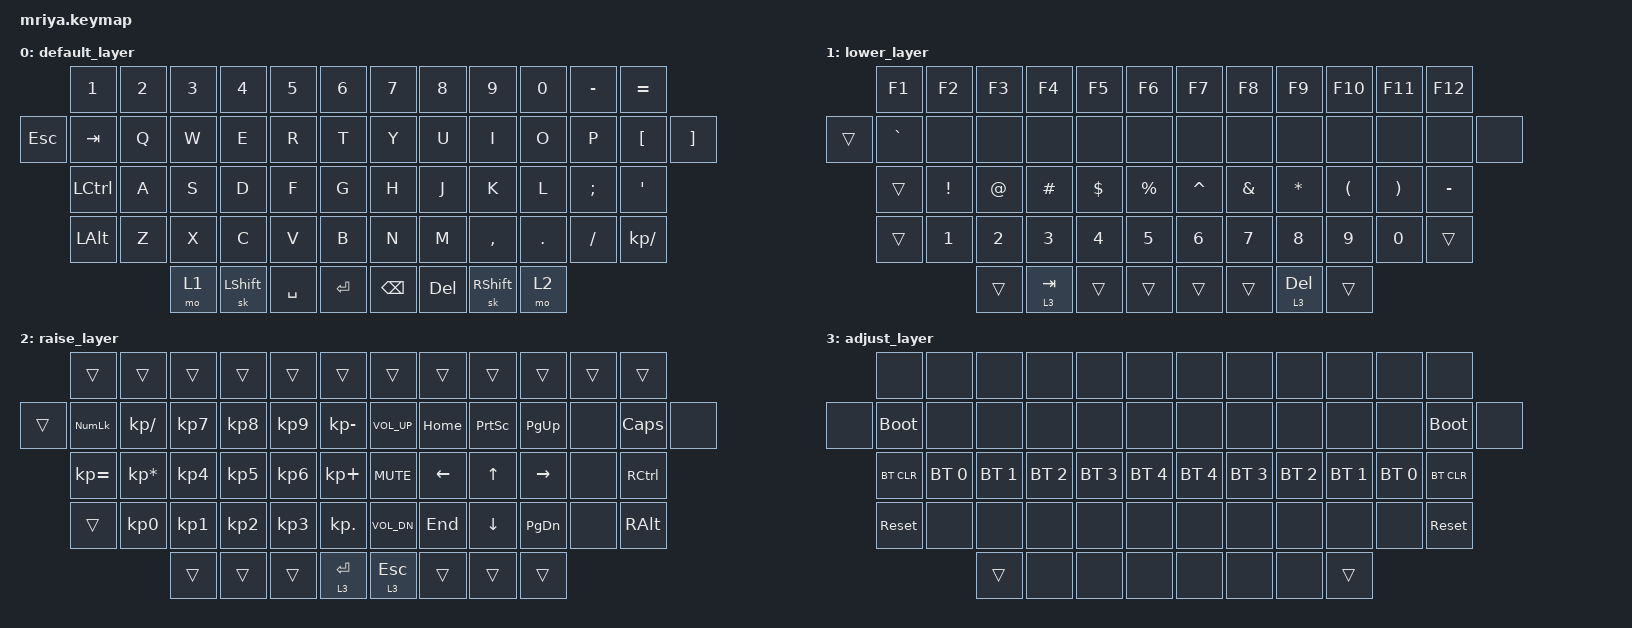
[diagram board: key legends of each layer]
/*
 * Copyright (c) 2023 Andrei Gaevskii
 *
 * SPDX-License-Identifier: MIT
 */

#include <behaviors.dtsi>
#include <dt-bindings/zmk/bt.h>
#include <dt-bindings/zmk/keys.h>

#define DEF 0
#define LWR 1
#define RSE 2
#define ADJ 3

&lt {
    quick_tap_ms = <200>;
};

&mt {
    quick_tap_ms = <200>;
};

/ {
    keymap {
        compatible = "zmk,keymap";

        default_layer {
            bindings = <
         &kp N1     &kp N2  &kp N3  &kp N4     &kp N5     &kp N6       &kp N7    &kp N8   &kp N9     &kp N0   &kp MINUS  &kp EQUAL
&kp ESC  &kp TAB    &kp Q   &kp W   &kp E      &kp R      &kp T        &kp Y     &kp U    &kp I      &kp O    &kp P      &kp LBKT       &kp RBKT
         &kp LCTRL  &kp A   &kp S   &kp D      &kp F      &kp G        &kp H     &kp J    &kp K      &kp L    &kp SEMI   &kp SQT
         &kp LALT   &kp Z   &kp X   &kp C      &kp V      &kp B        &kp N     &kp M    &kp COMMA  &kp DOT  &kp FSLH   &kp KP_DIVIDE
                            &mo 1   &sk LSHFT  &kp SPACE  &kp ENTER    &kp BSPC  &kp DEL  &sk RSHFT  &mo 2
            >;
        };

        lower_layer {
            bindings = <
        &kp F1     &kp F2    &kp F3  &kp F4     &kp F5    &kp F6       &kp F7     &kp F8    &kp F9     &kp F10   &kp F11   &kp F12
&trans  &kp GRAVE  &none     &none   &none      &none     &none        &none      &none     &none      &none     &none     &none      &none
        &trans     &kp EXCL  &kp AT  &kp HASH   &kp DLLR  &kp PRCNT    &kp CARET  &kp AMPS  &kp STAR   &kp LPAR  &kp RPAR  &kp MINUS
        &trans     &kp N1    &kp N2  &kp N3     &kp N4    &kp N5       &kp N6     &kp N7    &kp N8     &kp N9    &kp N0    &trans
                             &trans  &lt 3 TAB  &trans    &trans       &trans     &trans    &lt 3 DEL  &trans
            >;
        };

        raise_layer {
            bindings = <
        &trans        &trans           &trans     &trans     &trans     &trans          &trans        &trans    &trans     &trans     &trans  &trans
&trans  &kp KP_NUM    &kp KP_SLASH     &kp KP_N7  &kp KP_N8  &kp KP_N9  &kp KP_MINUS    &kp C_VOL_UP  &kp HOME  &kp PSCRN  &kp PG_UP  &none   &kp CAPS   &none
        &kp KP_EQUAL  &kp KP_MULTIPLY  &kp KP_N4  &kp KP_N5  &kp KP_N6  &kp KP_PLUS     &kp C_MUTE    &kp LEFT  &kp UP     &kp RIGHT  &none   &kp RCTRL
        &trans        &kp KP_N0        &kp KP_N1  &kp KP_N2  &kp KP_N3  &kp KP_DOT      &kp C_VOL_DN  &kp END   &kp DOWN   &kp PG_DN  &none   &kp RALT
                                       &trans     &trans     &trans     &lt 3 RET       &lt 3 ESC     &trans    &trans     &trans
            >;
        };

        adjust_layer {
            bindings = <
       &none        &none         &none         &none         &none         &none           &none         &none         &none         &none         &none         &none
&none  &bootloader  &none         &none         &none         &none         &none           &none         &none         &none         &none         &none         &bootloader  &none
       &bt BT_CLR   &bt BT_SEL 0  &bt BT_SEL 1  &bt BT_SEL 2  &bt BT_SEL 3  &bt BT_SEL 4    &bt BT_SEL 4  &bt BT_SEL 3  &bt BT_SEL 2  &bt BT_SEL 1  &bt BT_SEL 0  &bt BT_CLR
       &sys_reset   &none         &none         &none         &none         &none           &none         &none         &none         &none         &none         &sys_reset
                                  &trans        &none         &none         &none           &none         &none         &none         &trans
            >;
        };
    };
};
